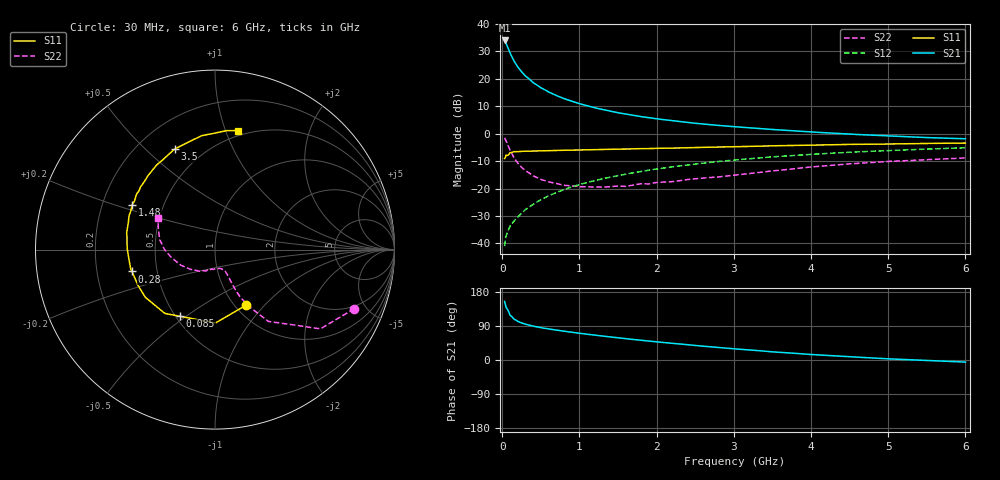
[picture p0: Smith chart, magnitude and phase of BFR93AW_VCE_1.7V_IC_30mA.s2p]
! Infineon Technologies  Discrete & RF Semiconductors
! BFR93AW
! VCE =  1.7 V,  IC =  30 mA
! Common Emitter S-Parameters:  Nov 2015
# GHz  S  MA  R  50
!  f  S11  S21  S12  S22
! GHz  MAG  ANG  MAG  ANG  MAG  ANG  MAG  ANG
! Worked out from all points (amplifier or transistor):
!   206 points, 30 MHz to 6 GHz, reference 50 ohm
!   highest |S21| = 34.0 dB at 30 MHz (marker M1)
!   |S21| within 3 dB of that: start of sweep to 77.74 MHz
!   unconditionally stable (mu >= 1): 399.3 MHz to 2.387 GHz
!   at 200 MHz: K = 0.83, MSG = 27.4 dB, |S12| = -30.4 dB
!   at 1.56 GHz: K = 1.05, MAG = 9.8 dB, |S12| = -14.9 dB
!   at 6 GHz: K = 0.95, MSG = 1.6 dB, |S12| = -5.1 dB
!   S11 on the Smith chart (normalised r, x): 30 MHz: 1.12, -0.79; 85 MHz: 0.53, -0.48; 280 MHz: 0.36, -0.11; 1.48 GHz: 0.33, +0.22; 3.5 GHz: 0.35, +0.62; 6 GHz: 0.45, +1.11
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0.03  0.355 -60.8  50.18 154.4  0.0089 71.1  0.8429 -23.0
0.05  0.4087 -89.6  44.13 138.6  0.0138 65.0  0.7349 -36.9
0.085  0.4195 -117.6  33.48 126.2  0.0186 62.2  0.5636 -47.0
0.1  0.4522 -128.1  29.64 118.3  0.0207 61.4  0.4982 -53.4
0.15  0.4705 -145.6  21.3 108.1  0.0253 61.6  0.3652 -59.4
0.2  0.4732 -155.2  16.53 101.9  0.0302 63.6  0.2919 -62.2
0.24  0.4741 -161.1  14.02 98.6  0.0344 65.5  0.2521 -63.0
0.28  0.4788 -165.3  12.13 95.8  0.039 66.5  0.2244 -63.4
0.3  0.4819 -167.0  11.29 94.3  0.0414 66.9  0.2126 -63.5
0.4  0.4832 -174.4  8.544 89.3  0.0514 69.6  0.1708 -63.4
0.5  0.4881 -179.7  6.891 85.2  0.0624 70.5  0.1468 -64.1
0.6  0.4917 176.6  5.769 81.9  0.0737 71.2  0.1326 -64.7
0.7  0.4938 172.6  4.975 78.7  0.0844 71.6  0.124 -66.5
0.9  0.502 166.3  3.903 73.2  0.1069 71.1  0.112 -71.6
1.04  0.5065 162.3  3.403 69.6  0.1226 70.3  0.108 -77.0
1.48  0.5235 151.9  2.444 59.1  0.1705 67.1  0.1105 -94.6
2.02  0.5423 139.7  1.854 47.4  0.2288 62.2  0.1299 -113.9
3.1  0.5821 118.7  1.313 28.1  0.3399 50.9  0.1813 -144.4
3.5  0.6036 111.9  1.195 21.5  0.3787 46.5  0.2099 -155.7
4.1  0.6214 102.2  1.057 13.4  0.4287 39.6  0.2538 -172.2
5.1  0.6511 89.2  0.899 2.3  0.4995 28.7  0.3163 167.8
6  0.6756 79.0  0.809 -5.5  0.5548 19.6  0.3615 150.9
